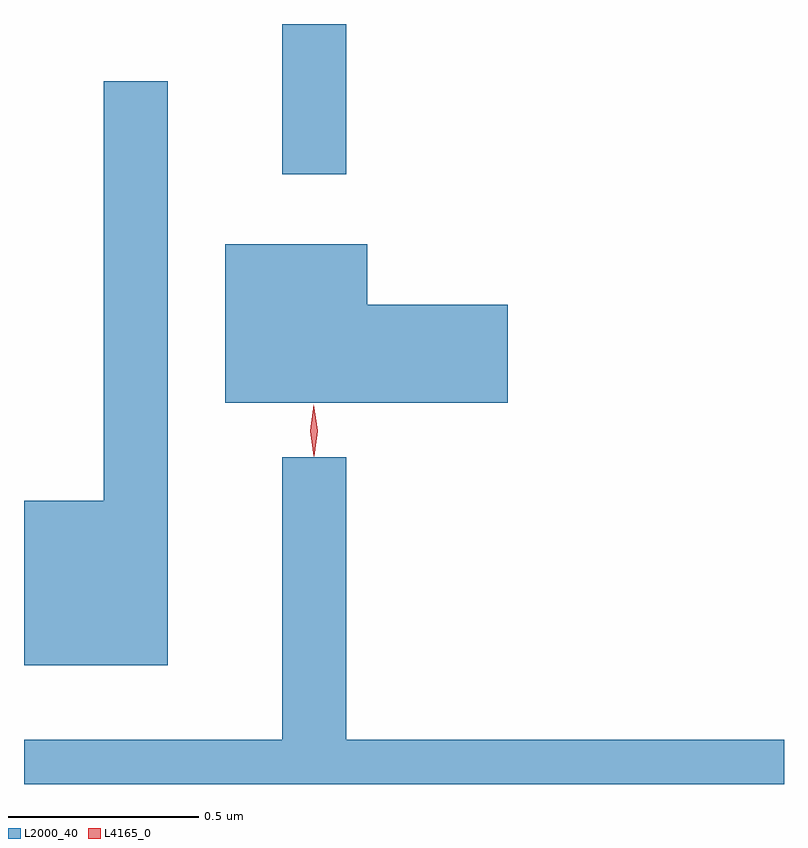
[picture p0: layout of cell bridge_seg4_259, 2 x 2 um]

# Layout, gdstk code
import gdstk
lib = gdstk.Library(unit=1e-6, precision=1e-09)
def R(c, l, rs):  # rectangles x0, y0, x1, y1
    for r in rs: c.add(gdstk.rectangle(r[:2], r[2:], *l))
def P(c, l, *ps):  # polygons
    for p in ps: c.add(gdstk.Polygon(p, *l))
L2000_40 = (2000, 40)
L4165_0 = (4165, 0)

bridge_seg4_259 = lib.new_cell('bridge_seg4_259')
R(bridge_seg4_259, L2000_40, [(706.631,1360.873,706.799,1361.268)])
P(bridge_seg4_259, L2000_40, [(706.329,1361.118),(706.161,1361.118),(706.161,1360.014),(705.951,1360.014),(705.951,1359.581),(706.329,1359.581)],
  [(707.224,1360.529),(706.854,1360.529),(706.854,1360.689),(706.481,1360.689),(706.481,1360.271),(707.224,1360.271)],
  [(707.951,1359.384),(706.799,1359.384),(706.799,1360.128),(706.631,1360.128),(706.631,1359.384),(705.951,1359.384),(705.951,1359.268),(707.951,1359.268)])
P(bridge_seg4_259, L4165_0, [(706.715,1360.133),(706.714,1360.134),(706.704,1360.196),(706.713,1360.259),(706.714,1360.26),(706.714,1360.259),(706.724,1360.196),(706.715,1360.134)],
  [(706.714,1360.13),(706.704,1360.198),(706.713,1360.266),(706.714,1360.266),(706.714,1360.266),(706.724,1360.198),(706.715,1360.13),(706.715,1360.13)])

lib.write_gds('bridge_seg4_259.gds')
